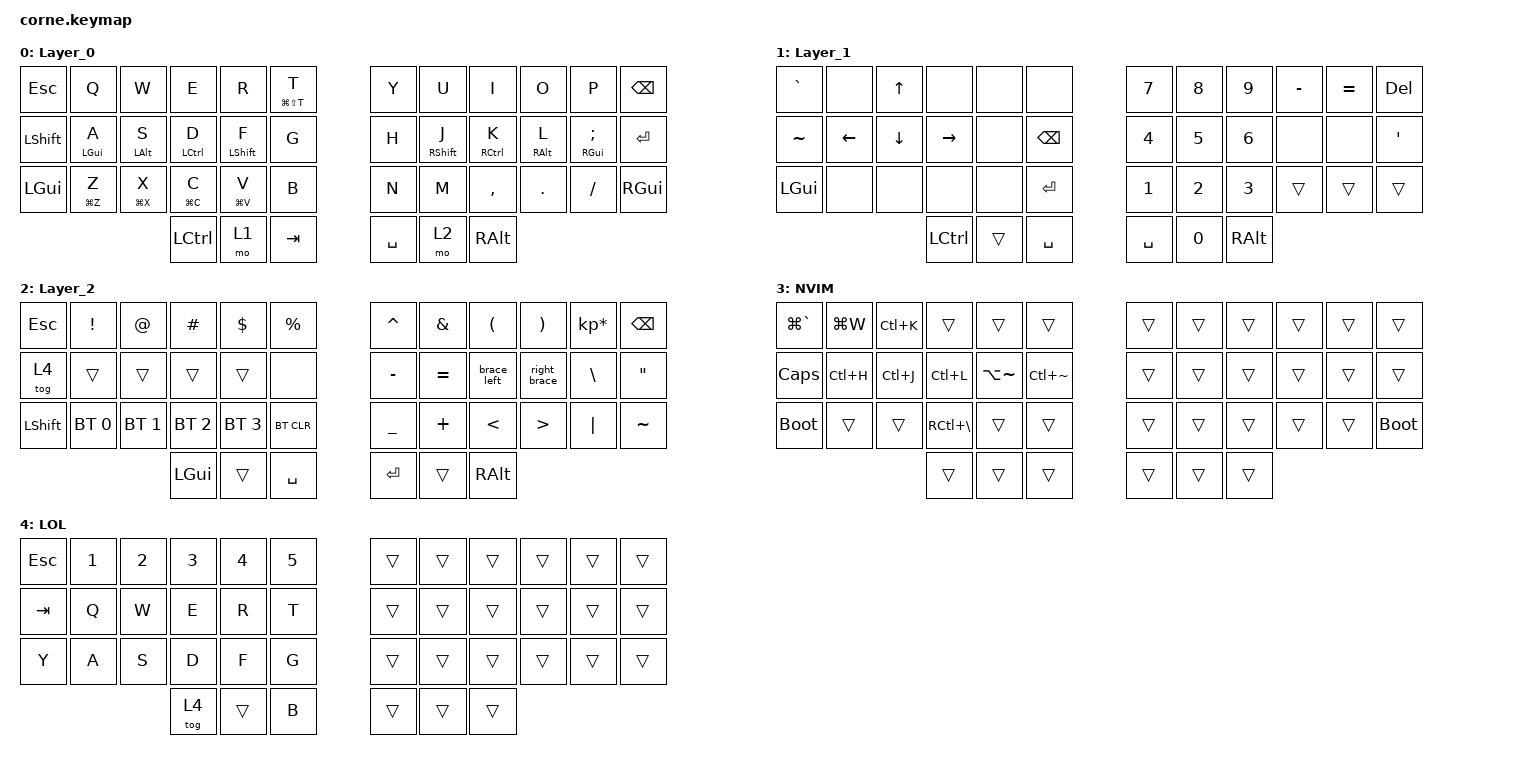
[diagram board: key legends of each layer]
/*
 * Copyright (c) 2020 The ZMK Contributors
 *
 * SPDX-License-Identifier: MIT
 */

#include <behaviors.dtsi>
#include <dt-bindings/zmk/bt.h>
#include <dt-bindings/zmk/keys.h>

&led_strip { chain-length = <27>; };

/ {
    behaviors {
        hold_left: hold_left {
            compatible = "zmk,behavior-hold-tap";
            label = "HOLD_LEFT";
            bindings = <&kp>, <&kp>;

            #binding-cells = <2>;
            tapping-term-ms = <200>;
            flavor = "balanced";
            hold-trigger-key-positions = <19 20 21 22 6 7 8 9 10 11 18 19 20 21 22 23 30 31 32 33 34 35 38 39 37 24 16 40>;
            require-prior-idle-ms = <100>;
        };

        hold_right: hold_right {
            compatible = "zmk,behavior-hold-tap";
            label = "HOLD_RIGHT";
            bindings = <&kp>, <&kp>;

            #binding-cells = <2>;
            tapping-term-ms = <200>;
            flavor = "balanced";
            hold-trigger-key-positions = <13 14 15 16 0 1 2 3 4 5 12 13 14 15 16 17 26 27 28 29 0 1 2 3 4 5 12 13 14 15 16 17 24 25 26 27 28 29 38 39>;
            require-prior-idle-ms = <100>;
        };

        hold: hold {
            compatible = "zmk,behavior-hold-tap";
            label = "HOLD";
            bindings = <&kp>, <&kp>;

            #binding-cells = <2>;
            tapping-term-ms = <500>;
            flavor = "tap-preferred";
        };

        brace_left: brace_left {
            compatible = "zmk,behavior-mod-morph";
            label = "BRACE_LEFT";
            bindings = <&kp LEFT_BRACE>, <&kp LEFT_BRACKET>;

            #binding-cells = <0>;
            mods = <(MOD_LSFT|MOD_RSFT)>;
        };

        right_brace: right_brace {
            compatible = "zmk,behavior-mod-morph";
            label = "RIGHT_BRACE";
            bindings = <&kp RIGHT_BRACE>, <&kp RIGHT_BRACKET>;

            #binding-cells = <0>;
            mods = <(MOD_LSFT|MOD_RSFT)>;
        };
    };

    keymap {
        compatible = "zmk,keymap";

        Layer_0 {
            // -----------------------------------------------------------------------------------------
            // |  TAB |  Q  |  W  |  E  |  R  |  T  |   |  Y  |  U   |  I  |  O  |  P  | BKSP |
            // | CTRL |  A  |  S  |  D  |  F  |  G  |   |  H  |  J   |  K  |  L  |  ;  |  '   |
            // | SHFT |  Z  |  X  |  C  |  V  |  B  |   |  N  |  M   |  ,  |  .  |  /  | ESC  |
            //                    | GUI | LWR | SPC |   | ENT | RSE  | ALT |

            bindings = <
&kp ESC         &kp Q                  &kp W                  &kp E                      &kp R                    &hold LG(LS(T)) T    &kp Y      &kp U                      &kp I                &kp O                    &kp P                       &kp BSPC
&kp LEFT_SHIFT  &hold_left LEFT_GUI A  &hold_left LEFT_ALT S  &hold_left LEFT_CONTROL D  &hold_left LEFT_SHIFT F  &kp G                &kp H      &hold_right RIGHT_SHIFT J  &hold_right RCTRL K  &hold_right RIGHT_ALT L  &hold_right RIGHT_GUI SEMI  &kp ENTER
&kp LGUI        &hold LG(Z) Z          &hold LG(X) X          &hold LG(C) C              &hold LG(V) V            &kp B                &kp N      &kp M                      &kp COMMA            &kp DOT                  &kp FSLH                    &kp RIGHT_GUI
                                                              &kp LEFT_CONTROL           &mo 1                    &kp TAB              &kp SPACE  &mo 2                      &kp RIGHT_ALT
            >;
        };

        Layer_1 {
            // -----------------------------------------------------------------------------------------
            // |  TAB |  1  |  2  |  3  |  4  |  5  |   |  6  |  7  |  8  |  9  |  0  | BKSP |
            // | BTCLR| BT1 | BT2 | BT3 | BT4 | BT5 |   | LFT | DWN |  UP | RGT |     |      |
            // | SHFT |     |     |     |     |     |   |     |     |     |     |     |      |
            //                    | GUI |     | SPC |   | ENT |     | ALT |

            bindings = <
&kp GRAVE     &none     &kp UP    &none      &none   &none            &kp NUMBER_7  &kp NUMBER_8  &kp NUMBER_9  &kp MINUS  &kp EQUAL  &kp DELETE
&kp TILDE     &kp LEFT  &kp DOWN  &kp RIGHT  &none   &kp BACKSPACE    &kp NUMBER_4  &kp NUMBER_5  &kp NUMBER_6  &none      &none      &kp SINGLE_QUOTE
&kp LEFT_GUI  &none     &none     &none      &none   &kp ENTER        &kp NUMBER_1  &kp NUMBER_2  &kp NUMBER_3  &trans     &trans     &trans
                                  &kp LCTRL  &trans  &kp SPACE        &kp SPACE     &kp NUMBER_0  &kp RALT
            >;
        };

        Layer_2 {
            // -----------------------------------------------------------------------------------------
            // |  TAB |  !  |  @  |  #  |  $  |  %  |   |  ^  |  &  |  *  |  (  |  )  | BKSP |
            // | CTRL |     |     |     |     |     |   |  -  |  =  |  [  |  ]  |  \  |  `   |
            // | SHFT |     |     |     |     |     |   |  _  |  +  |  {  |  }  | "|" |  ~   |
            //                    | GUI |     | SPC |   | ENT |     | ALT |

            bindings = <
&kp ESCAPE  &kp EXCL      &kp AT        &kp HASH      &kp DLLR      &kp PRCNT     &kp CARET  &kp AMPS   &kp LEFT_PARENTHESIS  &kp RIGHT_PARENTHESIS  &kp KP_ASTERISK  &kp BSPC
&tog 4      &trans        &trans        &trans        &trans        &none         &kp MINUS  &kp EQUAL  &brace_left           &right_brace           &kp BSLH         &kp DOUBLE_QUOTES
&kp LSHFT   &bt BT_SEL 0  &bt BT_SEL 1  &bt BT_SEL 2  &bt BT_SEL 3  &bt BT_CLR    &kp UNDER  &kp PLUS   &kp LESS_THAN         &kp GREATER_THAN       &kp PIPE         &kp TILDE
                                        &kp LGUI      &trans        &kp SPACE     &kp RET    &trans     &kp RALT
            >;
        };

        NVIM {
            bindings = <
&kp LG(GRAVE)  &kp LG(W)  &kp LC(K)  &trans             &trans         &trans           &trans  &trans  &trans  &trans  &trans  &trans
&kp CAPS       &kp LC(H)  &kp LC(J)  &kp LC(L)          &kp LA(TILDE)  &kp LC(TILDE)    &trans  &trans  &trans  &trans  &trans  &trans
&bootloader    &trans     &trans     &kp RC(BACKSLASH)  &trans         &trans           &trans  &trans  &trans  &trans  &trans  &bootloader
                                     &trans             &trans         &trans           &trans  &trans  &trans
            >;
        };

        LOL {
            bindings = <
&kp ESC  &kp NUMBER_1  &kp NUMBER_2  &kp NUMBER_3  &kp NUMBER_4  &kp N5    &trans  &trans  &trans  &trans  &trans  &trans
&kp TAB  &kp Q         &kp W         &kp E         &kp R         &kp T     &trans  &trans  &trans  &trans  &trans  &trans
&kp Y    &kp A         &kp S         &kp D         &kp F         &kp G     &trans  &trans  &trans  &trans  &trans  &trans
                                     &tog 4        &trans        &kp B     &trans  &trans  &trans
            >;
        };
    };

    conditional_layers {
        compatible = "zmk,conditional-layers";

        NVIM_CD {
            if-layers = <1 2>;
            then-layer = <3>;
        };
    };
};
